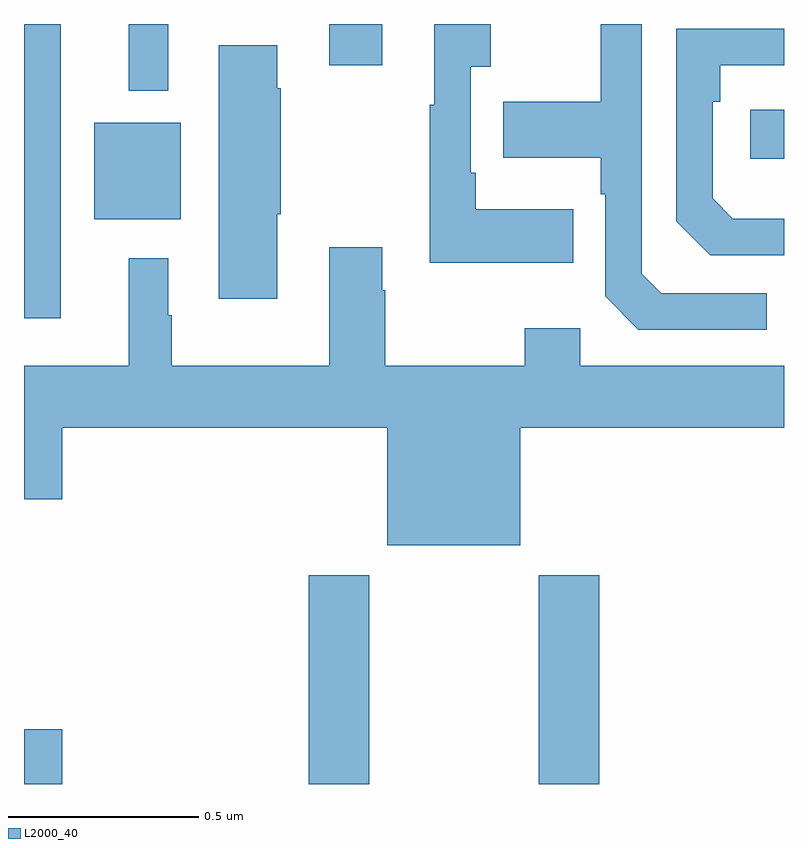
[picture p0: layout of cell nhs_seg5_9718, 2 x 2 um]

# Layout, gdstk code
import gdstk
lib = gdstk.Library(unit=1e-6, precision=1e-09)
def R(c, l, rs):  # rectangles x0, y0, x1, y1
    for r in rs: c.add(gdstk.rectangle(r[:2], r[2:], *l))
def P(c, l, *ps):  # polygons
    for p in ps: c.add(gdstk.Polygon(p, *l))
L2000_40 = (2000, 40)

nhs_seg5_9718 = lib.new_cell('nhs_seg5_9718')
R(nhs_seg5_9718, L2000_40, [(237,879.799,237.1,879.943), (237.749,879.799,237.909,880.348), (238.354,879.799,238.514,880.348), (237,881.025,237.097,881.799), (237.185,881.285,237.412,881.539), (238.911,881.444,239,881.574), (237.275,881.624,237.379,881.799), (237.803,881.691,237.943,881.799)])
P(nhs_seg5_9718, L2000_40, [(238.445,881.311),(238.189,881.311),(238.189,881.407),(238.176,881.407),(238.176,881.687),(238.228,881.687),(238.228,881.799),(238.079,881.799),(238.079,881.587),(238.068,881.587),(238.068,881.171),(238.445,881.171)],
  [(238.954,881.091),(238.677,881.091),(238.626,881.142),(238.626,881.799),(238.518,881.799),(238.518,881.595),(238.261,881.595),(238.261,881.447),(238.518,881.447),(238.518,881.351),(238.53,881.351),(238.53,881.082),(238.617,880.995),(238.954,880.995)],
  [(239,881.287),(238.865,881.287),(238.812,881.34),(238.812,881.594),(238.832,881.594),(238.832,881.691),(239,881.691),(239,881.787),(238.716,881.787),(238.716,881.28),(238.806,881.19),(239,881.19)],
  [(237.667,881.299),(237.675,881.299),(237.675,881.63),(237.667,881.63),(237.667,881.743),(237.512,881.743),(237.512,881.076),(237.667,881.076)],
  [(238.306,880.736),(239,880.736),(239,880.9),(238.464,880.9),(238.464,880.999),(238.318,880.999),(238.318,880.9),(237.951,880.9),(237.951,881.099),(237.943,881.099),(237.943,881.212),(237.803,881.212),(237.803,880.9),(237.389,880.9),(237.389,881.033),(237.379,881.033),(237.379,881.182),(237.275,881.182),(237.275,880.9),(237,880.9),(237,880.548),(237.1,880.548),(237.1,880.736),(237.956,880.736),(237.956,880.427),(238.306,880.427)])

lib.write_gds('nhs_seg5_9718.gds')
